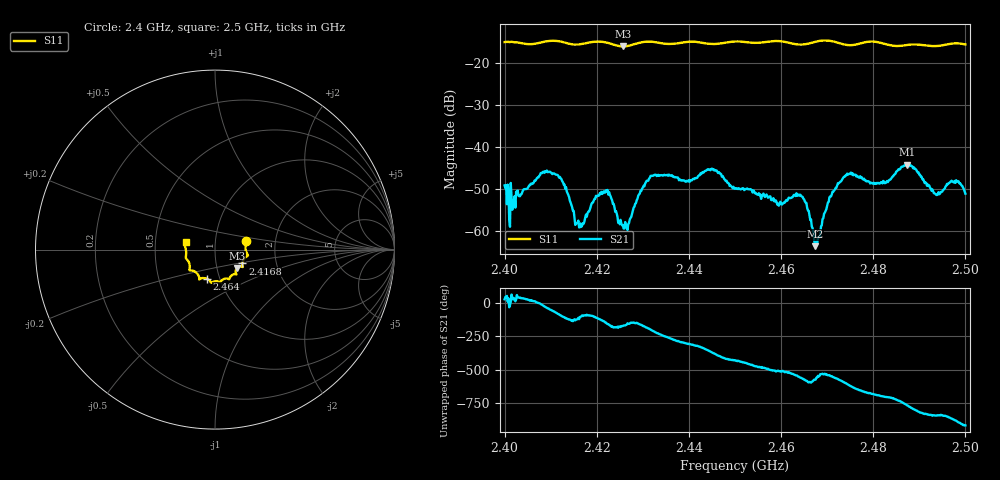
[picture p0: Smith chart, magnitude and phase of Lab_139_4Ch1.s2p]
# Hz S RI R 50
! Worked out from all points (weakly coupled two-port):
!   601 points, 2.4 GHz to 2.5 GHz, reference 50 ohm
!   highest |S21| = -44.26 dB at 2.4873 GHz (marker M1); lowest = -63.7 dB at 2.4673 GHz (marker M2)
!   lowest |S11| = -15.9 dB at 2.4257 GHz (marker M3), VSWR 1.38, Z = 62.5 - j13.1 ohm
!   |S11| at or under -10 dB: start of sweep to end of sweep
!   S12 and S22 are empty: the file has one direction only
!   S11 on the Smith chart (normalised r, x): 2.4 GHz: 1.41, +0.14; 2.4168 GHz: 1.34, -0.21; 2.464 GHz: 0.87, -0.29; 2.5 GHz: 0.72, +0.06
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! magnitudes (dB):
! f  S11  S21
! 2.4 GHz  -14.9  -49.2
! 2.4015 GHz  -14.8  -51.6
! 2.408 GHz  -14.9  -46.2
! 2.4112 GHz  -14.6  -46.6
! 2.4167 GHz  -15.4  -59.1
! 2.4168 GHz  -15.3  -58.8
! 2.4218 GHz  -14.9  -50.9
! 2.4257 GHz  -15.9  -58.7
! 2.4305 GHz  -14.8  -48.7
! 2.4333 GHz  -15.0  -46.6
! 2.4453 GHz  -15.3  -45.3
! 2.45 GHz  -14.7  -49.9
! 2.4597 GHz  -14.7  -53.8
! 2.464 GHz  -15.5  -51.6
! 2.4667 GHz  -15.0  -59.0
! 2.4673 GHz  -14.8  -63.7
! 2.4738 GHz  -15.5  -47.1
! 2.4833 GHz  -15.5  -48.1
! 2.4873 GHz  -15.6  -44.3
! 2.4935 GHz  -15.9  -51.2
! 2.4972 GHz  -15.2  -48.3
! 2.5 GHz  -15.4  -51.2
